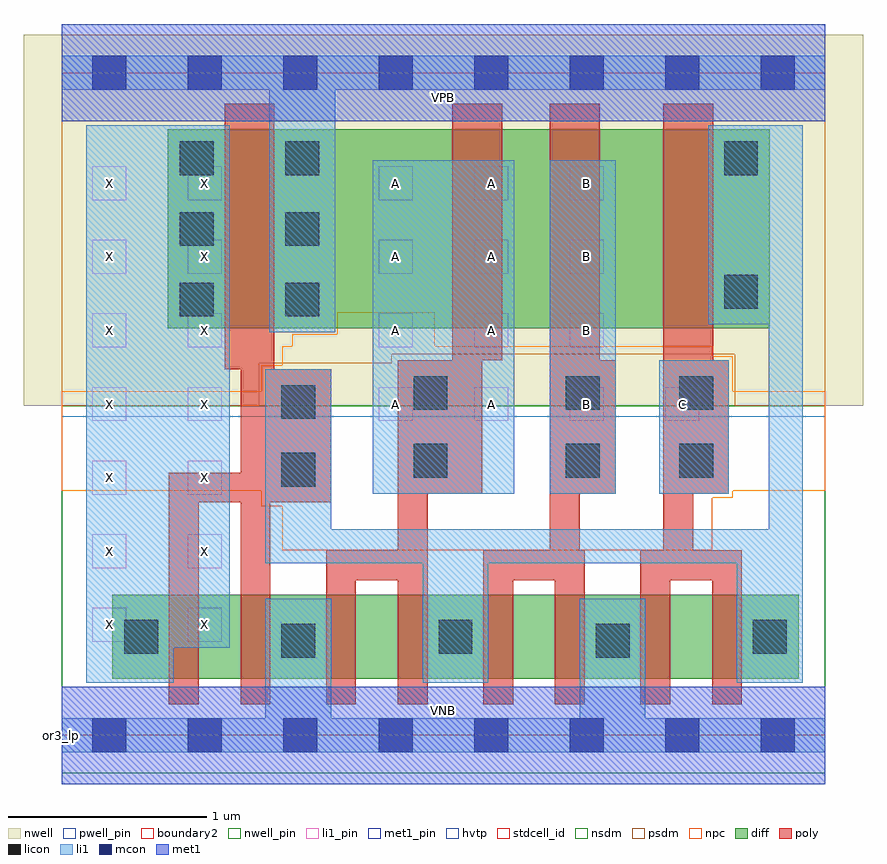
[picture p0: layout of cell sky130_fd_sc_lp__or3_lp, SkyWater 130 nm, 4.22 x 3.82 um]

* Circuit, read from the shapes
.subckt sky130_fd_sc_lp__or3_lp A B C VGND VNB VPB VPWR X
XM1 n1 n2 X VNB sky130_fd_pr__nfet_01v8 w=0.42 l=0.15
XM2 VGND n2 n1 VNB sky130_fd_pr__nfet_01v8 w=0.42 l=0.15
XM3 n3 A VGND VNB sky130_fd_pr__nfet_01v8 w=0.42 l=0.15
XM4 n2 A n3 VNB sky130_fd_pr__nfet_01v8 w=0.42 l=0.15
XM5 n4 B n2 VNB sky130_fd_pr__nfet_01v8 w=0.42 l=0.15
XM6 VGND B n4 VNB sky130_fd_pr__nfet_01v8 w=0.42 l=0.15
XM7 n5 C VGND VNB sky130_fd_pr__nfet_01v8 w=0.42 l=0.15
XM8 n2 C n5 VNB sky130_fd_pr__nfet_01v8 w=0.42 l=0.15
XM9 VPWR n2 X VPB sky130_fd_pr__pfet_01v8_hvt w=1 l=0.25
XM10 n6 A VPWR VPB sky130_fd_pr__pfet_01v8_hvt w=1 l=0.25
XM11 n7 B n6 VPB sky130_fd_pr__pfet_01v8_hvt w=1 l=0.25
XM12 n2 C n7 VPB sky130_fd_pr__pfet_01v8_hvt w=1 l=0.25
.ends

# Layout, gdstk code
import gdstk
lib = gdstk.Library(unit=1e-6, precision=1e-09)
def R(c, l, rs):  # rectangles x0, y0, x1, y1
    for r in rs: c.add(gdstk.rectangle(r[:2], r[2:], *l))
def A(c, l, x, y, w, h, nx, ny, dx, dy):  # array of equal rectangles
    R(c, l, [(x+i*dx, y+j*dy, x+i*dx+w, y+j*dy+h) for i in range(nx) for j in range(ny)])
def P(c, l, *ps):  # polygons
    for p in ps: c.add(gdstk.Polygon(p, *l))
nwell_pin = (64, 16)
nwell = (64, 20)
diff = (65, 20)
poly = (66, 20)
licon = (66, 44)
li1_pin = (67, 16)
li1 = (67, 20)
mcon = (67, 44)
met1_pin = (68, 16)
met1 = (68, 20)
hvtp = (78, 44)
stdcell_id = (81, 4)
nsdm = (93, 44)
psdm = (94, 20)
npc = (95, 20)
pwell_pin = (122, 16)
boundary2 = (236, 0)

sky130_fd_sc_lp__or3_lp = lib.new_cell('sky130_fd_sc_lp__or3_lp')
R(sky130_fd_sc_lp__or3_lp, nwell_pin, [(0,3.085,3.84,3.33)])
R(sky130_fd_sc_lp__or3_lp, nwell, [(-0.19,1.655,4.03,3.52)])
R(sky130_fd_sc_lp__or3_lp, diff, [(0.255,0.285,3.705,0.705), (0.535,2.045,3.56,3.045)])
P(sky130_fd_sc_lp__or3_lp, poly, [(1.355,1.84),(1.07,1.84),(1.07,3.175),(0.82,3.175),(0.82,1.84),(0.9,1.84),(0.9,1.32),(0.54,1.32),(0.54,0.155),(0.69,0.155),(0.69,1.17),(0.9,1.17),(0.9,0.155),(1.05,0.155),(1.05,1.17),(1.355,1.17)],
  [(2.215,3.175),(1.965,3.175),(1.965,1.885),(1.69,1.885),(1.69,0.93),(1.33,0.93),(1.33,0.155),(1.48,0.155),(1.48,0.78),(1.69,0.78),(1.69,0.155),(1.84,0.155),(1.84,1.215),(2.115,1.215),(2.115,1.885),(2.215,1.885)],
  [(2.785,1.885),(2.705,1.885),(2.705,3.175),(2.455,3.175),(2.455,0.93),(2.12,0.93),(2.12,0.155),(2.27,0.155),(2.27,0.78),(2.48,0.78),(2.48,0.155),(2.63,0.155),(2.63,0.93),(2.605,0.93),(2.605,1.215),(2.785,1.215)],
  [(3.42,0.93),(3.175,0.93),(3.175,1.215),(3.355,1.215),(3.355,1.885),(3.275,1.885),(3.275,3.175),(3.025,3.175),(3.025,0.93),(2.91,0.93),(2.91,0.155),(3.06,0.155),(3.06,0.78),(3.27,0.78),(3.27,0.155),(3.42,0.155)])
A(sky130_fd_sc_lp__or3_lp, licon, 0.315, 0.41, 0.17, 0.17, 3, 1, 1.58, 0)
A(sky130_fd_sc_lp__or3_lp, licon, 0.595, 2.105, 0.17, 0.17, 1, 3, 0, 0.355)
A(sky130_fd_sc_lp__or3_lp, licon, 1.125, 2.105, 0.17, 0.17, 1, 3, 0, 0.355)
R(sky130_fd_sc_lp__or3_lp, licon, [(1.105,0.39,1.275,0.56), (2.685,0.39,2.855,0.56), (1.105,1.25,1.275,1.42), (1.77,1.295,1.94,1.465), (2.535,1.295,2.705,1.465), (3.105,1.295,3.275,1.465), (1.105,1.59,1.275,1.76), (1.77,1.635,1.94,1.805), (2.535,1.635,2.705,1.805), (3.105,1.635,3.275,1.805), (3.33,2.145,3.5,2.315), (3.33,2.815,3.5,2.985)])
A(sky130_fd_sc_lp__or3_lp, li1_pin, 0.155, 0.47, 0.17, 0.17, 1, 7, 0, 0.37)
A(sky130_fd_sc_lp__or3_lp, li1_pin, 0.635, 0.47, 0.17, 0.17, 1, 7, 0, 0.37)
A(sky130_fd_sc_lp__or3_lp, li1_pin, 1.595, 1.58, 0.17, 0.17, 4, 1, 0.48, 0)
A(sky130_fd_sc_lp__or3_lp, li1_pin, 1.595, 1.95, 0.17, 0.17, 3, 3, 0.48, 0.37)
R(sky130_fd_sc_lp__or3_lp, li1, [(1.565,1.215,2.275,2.89), (2.455,1.215,2.785,2.89), (3.005,1.215,3.355,1.885)])
P(sky130_fd_sc_lp__or3_lp, li1, [(1.045,2.025),(1.045,3.245),(0,3.245),(0,3.415),(3.84,3.415),(3.84,3.245),(1.375,3.245),(1.375,2.025)],
  [(1.025,0.085),(1.025,0.685),(1.355,0.685),(1.355,0.085),(2.605,0.085),(2.605,0.685),(2.935,0.685),(2.935,0.085),(3.84,0.085),(3.84,-0.085),(0,-0.085),(0,0.085)],
  [(1.355,1.035),(3.555,1.035),(3.555,2.065),(3.25,2.065),(3.25,3.065),(3.725,3.065),(3.725,0.265),(3.395,0.265),(3.395,0.865),(2.145,0.865),(2.145,0.265),(1.815,0.265),(1.815,0.865),(1.025,0.865),(1.025,1.84),(1.355,1.84)],
  [(0.125,3.065),(0.845,3.065),(0.845,0.44),(0.565,0.44),(0.565,0.265),(0.125,0.265)])
A(sky130_fd_sc_lp__or3_lp, mcon, 0.155, -0.085, 0.17, 0.17, 8, 2, 0.48, 3.33)
R(sky130_fd_sc_lp__or3_lp, met1_pin, [(0,0,3.84,0.245), (0,3.085,3.84,3.33)])
R(sky130_fd_sc_lp__or3_lp, met1, [(0,-0.245,3.84,0.245), (0,3.085,3.84,3.575)])
R(sky130_fd_sc_lp__or3_lp, hvtp, [(0,1.6,3.84,3.33)])
R(sky130_fd_sc_lp__or3_lp, stdcell_id, [(0,0,3.84,3.33)])
R(sky130_fd_sc_lp__or3_lp, nsdm, [(0,-0.19,3.84,1.655)])
P(sky130_fd_sc_lp__or3_lp, psdm, [(3.84,3.52),(0,3.52),(0,1.655),(0.995,1.655),(0.995,1.87),(1.66,1.87),(1.66,1.915),(3.385,1.915),(3.385,1.655),(3.84,1.655)])
P(sky130_fd_sc_lp__or3_lp, npc, [(3.84,1.73),(3.375,1.73),(3.375,1.905),(3.27,1.905),(3.27,1.955),(1.875,1.955),(1.875,2.125),(1.385,2.125),(1.385,2.015),(1.16,2.015),(1.16,1.955),(1.11,1.955),(1.11,1.86),(1.005,1.86),(1.005,1.73),(0,1.73),(0,1.23),(1.005,1.23),(1.005,1.15),(1.11,1.15),(1.11,0.93),(3.27,0.93),(3.27,1.195),(3.375,1.195),(3.375,1.23),(3.84,1.23)])
R(sky130_fd_sc_lp__or3_lp, pwell_pin, [(0,0,3.84,0.245)])
R(sky130_fd_sc_lp__or3_lp, boundary2, [(0,0,3.84,3.33)])
sky130_fd_sc_lp__or3_lp.add(gdstk.Label('VNB', (1.92,0.123), layer=64, texttype=59))
sky130_fd_sc_lp__or3_lp.add(gdstk.Label('VPB', (1.92,3.208), layer=64, texttype=5))
sky130_fd_sc_lp__or3_lp.add(gdstk.Label('or3_lp', (0,0), layer=83, texttype=44))
sky130_fd_sc_lp__or3_lp.add(gdstk.Label('VPWR', (1.92,3.208), layer=68, texttype=5))
sky130_fd_sc_lp__or3_lp.add(gdstk.Label('VGND', (1.92,0.123), layer=68, texttype=5))
sky130_fd_sc_lp__or3_lp.add(gdstk.Label('C', (3.12,1.665), layer=67, texttype=5))
sky130_fd_sc_lp__or3_lp.add(gdstk.Label('B', (2.64,1.665), layer=67, texttype=5))
sky130_fd_sc_lp__or3_lp.add(gdstk.Label('B', (2.64,2.035), layer=67, texttype=5))
sky130_fd_sc_lp__or3_lp.add(gdstk.Label('B', (2.64,2.405), layer=67, texttype=5))
sky130_fd_sc_lp__or3_lp.add(gdstk.Label('B', (2.64,2.775), layer=67, texttype=5))
sky130_fd_sc_lp__or3_lp.add(gdstk.Label('A', (1.68,1.665), layer=67, texttype=5))
sky130_fd_sc_lp__or3_lp.add(gdstk.Label('A', (1.68,2.035), layer=67, texttype=5))
sky130_fd_sc_lp__or3_lp.add(gdstk.Label('A', (1.68,2.405), layer=67, texttype=5))
sky130_fd_sc_lp__or3_lp.add(gdstk.Label('A', (1.68,2.775), layer=67, texttype=5))
sky130_fd_sc_lp__or3_lp.add(gdstk.Label('A', (2.16,1.665), layer=67, texttype=5))
sky130_fd_sc_lp__or3_lp.add(gdstk.Label('A', (2.16,2.035), layer=67, texttype=5))
sky130_fd_sc_lp__or3_lp.add(gdstk.Label('A', (2.16,2.405), layer=67, texttype=5))
sky130_fd_sc_lp__or3_lp.add(gdstk.Label('A', (2.16,2.775), layer=67, texttype=5))
sky130_fd_sc_lp__or3_lp.add(gdstk.Label('X', (0.24,0.555), layer=67, texttype=5))
sky130_fd_sc_lp__or3_lp.add(gdstk.Label('X', (0.24,0.925), layer=67, texttype=5))
sky130_fd_sc_lp__or3_lp.add(gdstk.Label('X', (0.24,1.295), layer=67, texttype=5))
sky130_fd_sc_lp__or3_lp.add(gdstk.Label('X', (0.24,1.665), layer=67, texttype=5))
sky130_fd_sc_lp__or3_lp.add(gdstk.Label('X', (0.24,2.035), layer=67, texttype=5))
sky130_fd_sc_lp__or3_lp.add(gdstk.Label('X', (0.24,2.405), layer=67, texttype=5))
sky130_fd_sc_lp__or3_lp.add(gdstk.Label('X', (0.24,2.775), layer=67, texttype=5))
sky130_fd_sc_lp__or3_lp.add(gdstk.Label('X', (0.72,0.555), layer=67, texttype=5))
sky130_fd_sc_lp__or3_lp.add(gdstk.Label('X', (0.72,0.925), layer=67, texttype=5))
sky130_fd_sc_lp__or3_lp.add(gdstk.Label('X', (0.72,1.295), layer=67, texttype=5))
sky130_fd_sc_lp__or3_lp.add(gdstk.Label('X', (0.72,1.665), layer=67, texttype=5))
sky130_fd_sc_lp__or3_lp.add(gdstk.Label('X', (0.72,2.035), layer=67, texttype=5))
sky130_fd_sc_lp__or3_lp.add(gdstk.Label('X', (0.72,2.405), layer=67, texttype=5))
sky130_fd_sc_lp__or3_lp.add(gdstk.Label('X', (0.72,2.775), layer=67, texttype=5))

lib.write_gds('sky130_fd_sc_lp__or3_lp.gds')
